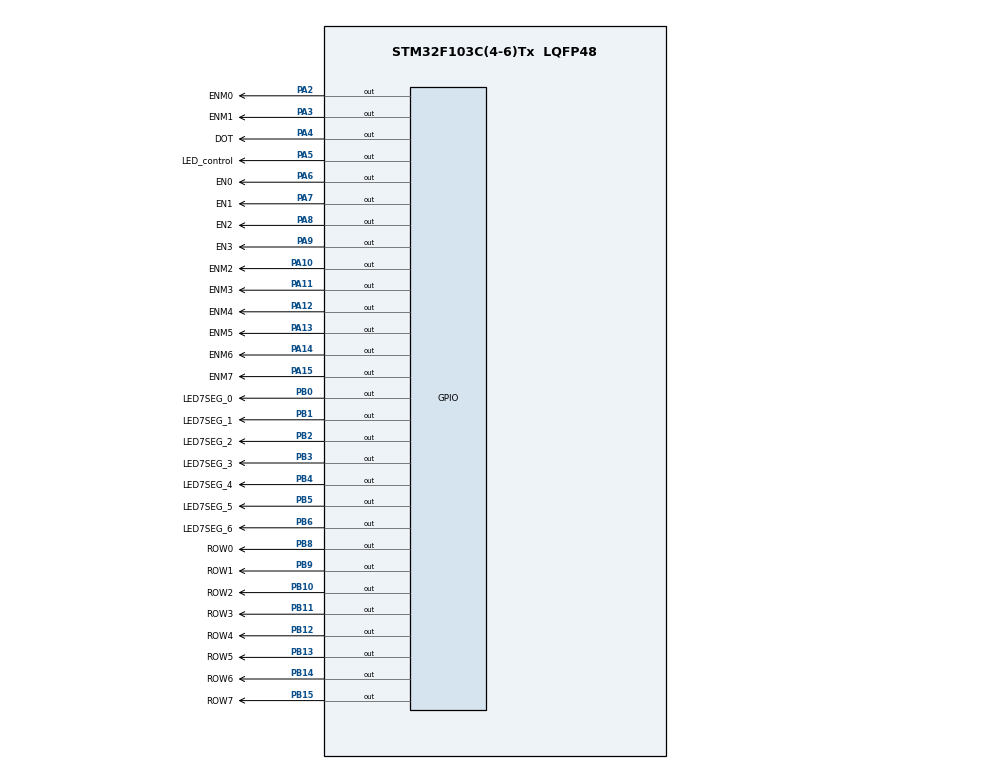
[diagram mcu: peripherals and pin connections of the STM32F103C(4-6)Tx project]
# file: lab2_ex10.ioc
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Mcu.Family=STM32F1
Mcu.Name=STM32F103C(4-6)Tx
Mcu.Package=LQFP48
NVIC.PriorityGroup=NVIC_PRIORITYGROUP_4
NVIC.TIM2_IRQn=true\:0\:0\:false\:false\:true\:true\:true\:true
PA10.GPIO_Label=ENM2
PA10.Signal=GPIO_Output
PA11.GPIO_Label=ENM3
PA11.Signal=GPIO_Output
PA12.GPIO_Label=ENM4
PA12.Signal=GPIO_Output
PA13.GPIO_Label=ENM5
PA13.Signal=GPIO_Output
PA14.GPIO_Label=ENM6
PA14.Signal=GPIO_Output
PA15.GPIO_Label=ENM7
PA15.Signal=GPIO_Output
PA2.GPIO_Label=ENM0
PA2.Signal=GPIO_Output
PA3.GPIO_Label=ENM1
PA3.Signal=GPIO_Output
PA4.GPIO_Label=DOT
PA4.Signal=GPIO_Output
PA5.GPIO_Label=LED_control
PA5.Signal=GPIO_Output
PA6.GPIO_Label=EN0
PA6.Signal=GPIO_Output
PA7.GPIO_Label=EN1
PA7.Signal=GPIO_Output
PA8.GPIO_Label=EN2
PA8.Signal=GPIO_Output
PA9.GPIO_Label=EN3
PA9.Signal=GPIO_Output
PB0.GPIO_Label=LED7SEG_0
PB0.Signal=GPIO_Output
PB1.GPIO_Label=LED7SEG_1
PB1.Signal=GPIO_Output
PB10.GPIO_Label=ROW2
PB10.Signal=GPIO_Output
PB11.GPIO_Label=ROW3
PB11.Signal=GPIO_Output
PB12.GPIO_Label=ROW4
PB12.Signal=GPIO_Output
PB13.GPIO_Label=ROW5
PB13.Signal=GPIO_Output
PB14.GPIO_Label=ROW6
PB14.Signal=GPIO_Output
PB15.GPIO_Label=ROW7
PB15.Signal=GPIO_Output
PB2.GPIO_Label=LED7SEG_2
PB2.Signal=GPIO_Output
PB3.GPIO_Label=LED7SEG_3
PB3.Signal=GPIO_Output
PB4.GPIO_Label=LED7SEG_4
PB4.Signal=GPIO_Output
PB5.GPIO_Label=LED7SEG_5
PB5.Signal=GPIO_Output
PB6.GPIO_Label=LED7SEG_6
PB6.Signal=GPIO_Output
PB8.GPIO_Label=ROW0
PB8.Signal=GPIO_Output
PB9.GPIO_Label=ROW1
PB9.Signal=GPIO_Output
ProjectManager.HeapSize=0x200
ProjectManager.StackSize=0x400
ProjectManager.TargetToolchain=CMake
RCC.APB1Freq_Value=8000000
RCC.APB2Freq_Value=8000000
TIM2.Period=9
TIM2.Prescaler=7999
VP_SYS_VS_ND.Mode=No_Debug
VP_TIM2_VS_ClockSourceINT.Mode=Internal
board=custom

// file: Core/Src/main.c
/* USER CODE BEGIN Header */
/**
  ******************************************************************************
  * @file           : main.c
  * @brief          : Main program body
  ******************************************************************************
  * @attention
  *
  * Copyright (c) 2026 STMicroelectronics.
  * All rights reserved.
  *
  * This software is licensed under terms that can be found in the LICENSE file
  * in the root directory of this software component.
  * If no LICENSE file comes with this software, it is provided AS-IS.
  *
  ******************************************************************************
  */
/* USER CODE END Header */
#include "main.h"

/* USER CODE BEGIN Includes */
#include "control_7_seg.h"
#include "stm32f103x6.h"
#include "stm32f1xx_hal_gpio.h"
/* USER CODE END Includes */

/* USER CODE BEGIN PD */
uint16_t arr_led7seg_pin[7] = {
  LED7SEG_0_Pin,
  LED7SEG_1_Pin,
  LED7SEG_2_Pin,
  LED7SEG_3_Pin,
  LED7SEG_4_Pin,
  LED7SEG_5_Pin,
  LED7SEG_6_Pin
};

uint16_t arr_matrix_led_pin[8] = {
  ROW0_Pin,
  ROW1_Pin,
  ROW2_Pin,
  ROW3_Pin,
  ROW4_Pin,
  ROW5_Pin,
  ROW6_Pin,
  ROW7_Pin
};
/* USER CODE END PD */

TIM_HandleTypeDef htim2;

/* USER CODE BEGIN PV */
int index_led = 0;
int led_buffer [4] = {1 , 9 , 3 , 4};
int hour = 15 , minute = 8 , second = 50;

const int MAX_LED_MATRIX = 8;
int index_led_matrix = 0;
uint8_t charA[8] = {0x00, 0xFC, 0x12, 0x11, 0x11, 0x12, 0xFC, 0x00};
uint8_t matrix_buffer[8] = {0};
uint8_t shift = 0;
/* USER CODE END PV */

void SystemClock_Config(void);
static void MX_GPIO_Init(void);
static void MX_TIM2_Init(void);
/* USER CODE BEGIN PFP */
void updateShiftLeftAnimation();
void update7SEG (int index);
void updateClockBuffer ();
void updateLEDMatrix (int index);
void displayLEDMatrix(uint8_t matrix_buffer,GPIO_TypeDef *Port ,uint16_t arr_matrix_led_pin[8]);
/* USER CODE END PFP */

/* USER CODE BEGIN 0 */
int timer0_counter = 0;
int timer0_flag = 0;
int TIMER_CYCLE = 10;
void setTimer0 ( int duration ) {
  timer0_counter = duration / TIMER_CYCLE ;
  timer0_flag = 0;
}
void timer_run0 () {
  if( timer0_counter > 0) {
    timer0_counter --;
    if( timer0_counter == 0) timer0_flag = 1;
  }
}

int timer1_counter = 0;
int timer1_flag = 0;
void setTimer1 ( int duration ) {
  timer1_counter = duration / TIMER_CYCLE ;
  timer1_flag = 0;
}
void timer_run1 () {
  if( timer1_counter > 0) {
    timer1_counter --;
    if( timer1_counter == 0) timer1_flag = 1;
  }
}

int timer2_counter = 0;
int timer2_flag = 0;
void setTimer2 ( int duration ) {
  timer2_counter = duration / TIMER_CYCLE ;
  timer2_flag = 0;
}
void timer_run2(){
  if(timer2_counter >0){
    timer2_counter--;
    if(timer2_counter == 0) timer2_flag = 1;
  }
}

int timer3_counter = 0;
int timer3_flag = 0;

void timer_run3() {
  if( timer3_counter > 0) {
    timer3_counter --;
    if( timer3_counter == 0) timer3_flag = 1;
  }
}
void setTimer3 ( int duration ) {
  timer3_counter = duration / TIMER_CYCLE ;
  timer3_flag = 0;
}

/* USER CODE END 0 */

int main(void)
{

  /* MCU Configuration--------------------------------------------------------*/

  /* Reset of all peripherals, Initializes the Flash interface and the Systick. */
  HAL_Init();

  /* Configure the system clock */
  SystemClock_Config();

  /* Initialize all configured peripherals */
  MX_GPIO_Init();
  MX_TIM2_Init();
  /* USER CODE BEGIN 2 */
  HAL_TIM_Base_Start_IT(&htim2);
  /* USER CODE END 2 */

  /* Infinite loop */
  /* USER CODE BEGIN WHILE */
  setTimer0 (250) ;
  setTimer1 (1000) ;
  setTimer2 (500) ;
  setTimer3 (10) ;
  while (1)
  {
    /* USER CODE END WHILE */

    /* USER CODE BEGIN 3 */
    if( timer0_flag == 1) {
      update7SEG (index_led) ;
      index_led = (index_led + 1) % 4 ;
      setTimer0 (250) ;

    }
    if( timer3_flag == 1) {
      updateLEDMatrix (index_led_matrix) ;
      index_led_matrix = (index_led_matrix + 1) % MAX_LED_MATRIX ;
      setTimer3 (10) ;
    }
    if( timer1_flag == 1) {
      setTimer1 (1000) ;
      second ++;
    }
    if( timer2_flag == 1) {
      setTimer2 (500) ;
      HAL_GPIO_TogglePin ( LED_control_GPIO_Port, LED_control_Pin );
      HAL_GPIO_TogglePin ( DOT_GPIO_Port, DOT_Pin ) ;
      updateShiftLeftAnimation() ;
    }
    if ( second >= 60) {
      second = 0;
      minute ++;
    }
    if( minute >= 60) {
      minute = 0;
      hour ++;
    }
    if( hour >=24) {
      hour = 0;
    }
    updateClockBuffer () ;
  }
  /* USER CODE END 3 */
}

void SystemClock_Config(void)
{
  RCC_OscInitTypeDef RCC_OscInitStruct = {0};
  RCC_ClkInitTypeDef RCC_ClkInitStruct = {0};

  /** Initializes the RCC Oscillators according to the specified parameters
  * in the RCC_OscInitTypeDef structure.
  */
  RCC_OscInitStruct.OscillatorType = RCC_OSCILLATORTYPE_HSI;
  RCC_OscInitStruct.HSIState = RCC_HSI_ON;
  RCC_OscInitStruct.HSICalibrationValue = RCC_HSICALIBRATION_DEFAULT;
  RCC_OscInitStruct.PLL.PLLState = RCC_PLL_NONE;
  if (HAL_RCC_OscConfig(&RCC_OscInitStruct) != HAL_OK)
  {
    Error_Handler();
  }

  /** Initializes the CPU, AHB and APB buses clocks
  */
  RCC_ClkInitStruct.ClockType = RCC_CLOCKTYPE_HCLK|RCC_CLOCKTYPE_SYSCLK
                              |RCC_CLOCKTYPE_PCLK1|RCC_CLOCKTYPE_PCLK2;
  RCC_ClkInitStruct.SYSCLKSource = RCC_SYSCLKSOURCE_HSI;
  RCC_ClkInitStruct.AHBCLKDivider = RCC_SYSCLK_DIV1;
  RCC_ClkInitStruct.APB1CLKDivider = RCC_HCLK_DIV1;
  RCC_ClkInitStruct.APB2CLKDivider = RCC_HCLK_DIV1;

  if (HAL_RCC_ClockConfig(&RCC_ClkInitStruct, FLASH_LATENCY_0) != HAL_OK)
  {
    Error_Handler();
  }
}

static void MX_TIM2_Init(void)
{

  TIM_ClockConfigTypeDef sClockSourceConfig = {0};
  TIM_MasterConfigTypeDef sMasterConfig = {0};

  htim2.Instance = TIM2;
  htim2.Init.Prescaler = 7999;
  htim2.Init.CounterMode = TIM_COUNTERMODE_UP;
  htim2.Init.Period = 9;
  htim2.Init.ClockDivision = TIM_CLOCKDIVISION_DIV1;
  htim2.Init.AutoReloadPreload = TIM_AUTORELOAD_PRELOAD_DISABLE;
  if (HAL_TIM_Base_Init(&htim2) != HAL_OK)
  {
    Error_Handler();
  }
  sClockSourceConfig.ClockSource = TIM_CLOCKSOURCE_INTERNAL;
  if (HAL_TIM_ConfigClockSource(&htim2, &sClockSourceConfig) != HAL_OK)
  {
    Error_Handler();
  }
  sMasterConfig.MasterOutputTrigger = TIM_TRGO_RESET;
  sMasterConfig.MasterSlaveMode = TIM_MASTERSLAVEMODE_DISABLE;
  if (HAL_TIMEx_MasterConfigSynchronization(&htim2, &sMasterConfig) != HAL_OK)
  {
    Error_Handler();
  }

}

static void MX_GPIO_Init(void)
{
  GPIO_InitTypeDef GPIO_InitStruct = {0};

  /* GPIO Ports Clock Enable */
  __HAL_RCC_GPIOA_CLK_ENABLE();
  __HAL_RCC_GPIOB_CLK_ENABLE();

  /*Configure GPIO pin Output Level */
  HAL_GPIO_WritePin(GPIOA, ENM0_Pin|ENM1_Pin|DOT_Pin|LED_control_Pin
                          |EN0_Pin|EN1_Pin|EN2_Pin|EN3_Pin
                          |ENM2_Pin|ENM3_Pin|ENM4_Pin|ENM5_Pin
                          |ENM6_Pin|ENM7_Pin, GPIO_PIN_RESET);

  /*Configure GPIO pin Output Level */
  HAL_GPIO_WritePin(GPIOB, LED7SEG_0_Pin|LED7SEG_1_Pin|LED7SEG_2_Pin|ROW2_Pin
                          |ROW3_Pin|ROW4_Pin|ROW5_Pin|ROW6_Pin
                          |ROW7_Pin|LED7SEG_3_Pin|LED7SEG_4_Pin|LED7SEG_5_Pin
                          |LED7SEG_6_Pin|ROW0_Pin|ROW1_Pin, GPIO_PIN_RESET);

  /*Configure GPIO pins : ENM0_Pin ENM1_Pin DOT_Pin LED_control_Pin
                           EN0_Pin EN1_Pin EN2_Pin EN3_Pin
                           ENM2_Pin ENM3_Pin ENM4_Pin ENM5_Pin
                           ENM6_Pin ENM7_Pin */
  GPIO_InitStruct.Pin = ENM0_Pin|ENM1_Pin|DOT_Pin|LED_control_Pin
                          |EN0_Pin|EN1_Pin|EN2_Pin|EN3_Pin
                          |ENM2_Pin|ENM3_Pin|ENM4_Pin|ENM5_Pin
                          |ENM6_Pin|ENM7_Pin;
  GPIO_InitStruct.Mode = GPIO_MODE_OUTPUT_PP;
  GPIO_InitStruct.Pull = GPIO_NOPULL;
  GPIO_InitStruct.Speed = GPIO_SPEED_FREQ_LOW;
  HAL_GPIO_Init(GPIOA, &GPIO_InitStruct);

  /*Configure GPIO pins : LED7SEG_0_Pin LED7SEG_1_Pin LED7SEG_2_Pin ROW2_Pin
                           ROW3_Pin ROW4_Pin ROW5_Pin ROW6_Pin
                           ROW7_Pin LED7SEG_3_Pin LED7SEG_4_Pin LED7SEG_5_Pin
                           LED7SEG_6_Pin ROW0_Pin ROW1_Pin */
  GPIO_InitStruct.Pin = LED7SEG_0_Pin|LED7SEG_1_Pin|LED7SEG_2_Pin|ROW2_Pin
                          |ROW3_Pin|ROW4_Pin|ROW5_Pin|ROW6_Pin
                          |ROW7_Pin|LED7SEG_3_Pin|LED7SEG_4_Pin|LED7SEG_5_Pin
                          |LED7SEG_6_Pin|ROW0_Pin|ROW1_Pin;
  GPIO_InitStruct.Mode = GPIO_MODE_OUTPUT_PP;
  GPIO_InitStruct.Pull = GPIO_NOPULL;
  GPIO_InitStruct.Speed = GPIO_SPEED_FREQ_LOW;
  HAL_GPIO_Init(GPIOB, &GPIO_InitStruct);

}

/* USER CODE BEGIN 4 */
void updateShiftLeftAnimation() {

  for (int i = 0; i < 8; i++) {
    matrix_buffer[i] = charA[(shift + i)%8];
  }

  shift = (shift + 1) % 8;
}
void displayLEDMatrix(uint8_t matrix_buffer,GPIO_TypeDef *Port ,uint16_t arr_matrix_led_pin[8]){
  for(int i = 0; i < 8; i++){
    GPIO_PinState state = !((matrix_buffer >> i) & 0x01);
    HAL_GPIO_WritePin(Port, arr_matrix_led_pin[i], state);
  }
}

void updateLEDMatrix(int index){
  switch (index) {
    case 0:
      HAL_GPIO_WritePin(GPIOA, ENM0_Pin, GPIO_PIN_RESET);
      HAL_GPIO_WritePin(GPIOA, ENM1_Pin, GPIO_PIN_SET);
      HAL_GPIO_WritePin(GPIOA, ENM2_Pin, GPIO_PIN_SET);
      HAL_GPIO_WritePin(GPIOA, ENM3_Pin, GPIO_PIN_SET);
      HAL_GPIO_WritePin(GPIOA, ENM4_Pin, GPIO_PIN_SET);
      HAL_GPIO_WritePin(GPIOA, ENM5_Pin, GPIO_PIN_SET);
      HAL_GPIO_WritePin(GPIOA, ENM6_Pin, GPIO_PIN_SET);
      HAL_GPIO_WritePin(GPIOA, ENM7_Pin, GPIO_PIN_SET);
      displayLEDMatrix(matrix_buffer[0],GPIOB ,arr_matrix_led_pin);
      break;
    case 1:
      HAL_GPIO_WritePin(GPIOA, ENM0_Pin, GPIO_PIN_SET);
      HAL_GPIO_WritePin(GPIOA, ENM1_Pin, GPIO_PIN_RESET);
      HAL_GPIO_WritePin(GPIOA, ENM2_Pin, GPIO_PIN_SET);
      HAL_GPIO_WritePin(GPIOA, ENM3_Pin, GPIO_PIN_SET);
      HAL_GPIO_WritePin(GPIOA, ENM4_Pin, GPIO_PIN_SET);
      HAL_GPIO_WritePin(GPIOA, ENM5_Pin, GPIO_PIN_SET);
      HAL_GPIO_WritePin(GPIOA, ENM6_Pin, GPIO_PIN_SET);
      HAL_GPIO_WritePin(GPIOA, ENM7_Pin, GPIO_PIN_SET);
      displayLEDMatrix(matrix_buffer[1],GPIOB ,arr_matrix_led_pin);
      break;
    case 2:
      HAL_GPIO_WritePin(GPIOA, ENM0_Pin, GPIO_PIN_SET);
      HAL_GPIO_WritePin(GPIOA, ENM1_Pin, GPIO_PIN_SET);
      HAL_GPIO_WritePin(GPIOA, ENM2_Pin, GPIO_PIN_RESET);
      HAL_GPIO_WritePin(GPIOA, ENM3_Pin, GPIO_PIN_SET);
      HAL_GPIO_WritePin(GPIOA, ENM4_Pin, GPIO_PIN_SET);
      HAL_GPIO_WritePin(GPIOA, ENM5_Pin, GPIO_PIN_SET);
      HAL_GPIO_WritePin(GPIOA, ENM6_Pin, GPIO_PIN_SET);
      HAL_GPIO_WritePin(GPIOA, ENM7_Pin, GPIO_PIN_SET);
      displayLEDMatrix(matrix_buffer[2],GPIOB ,arr_matrix_led_pin);
      break;
    case 3:
      HAL_GPIO_WritePin(GPIOA, ENM0_Pin, GPIO_PIN_SET);
      HAL_GPIO_WritePin(GPIOA, ENM1_Pin, GPIO_PIN_SET);
      HAL_GPIO_WritePin(GPIOA, ENM2_Pin, GPIO_PIN_SET);
      HAL_GPIO_WritePin(GPIOA, ENM3_Pin, GPIO_PIN_RESET);
      HAL_GPIO_WritePin(GPIOA, ENM4_Pin, GPIO_PIN_SET);
      HAL_GPIO_WritePin(GPIOA, ENM5_Pin, GPIO_PIN_SET);
      HAL_GPIO_WritePin(GPIOA, ENM6_Pin, GPIO_PIN_SET);
      HAL_GPIO_WritePin(GPIOA, ENM7_Pin, GPIO_PIN_SET);
      displayLEDMatrix(matrix_buffer[3],GPIOB ,arr_matrix_led_pin);
      break;
    case 4:
      HAL_GPIO_WritePin(GPIOA, ENM0_Pin, GPIO_PIN_SET);
      HAL_GPIO_WritePin(GPIOA, ENM1_Pin, GPIO_PIN_SET);
      HAL_GPIO_WritePin(GPIOA, ENM2_Pin, GPIO_PIN_SET);
      HAL_GPIO_WritePin(GPIOA, ENM3_Pin, GPIO_PIN_SET);
      HAL_GPIO_WritePin(GPIOA, ENM4_Pin, GPIO_PIN_RESET);
      HAL_GPIO_WritePin(GPIOA, ENM5_Pin, GPIO_PIN_SET);
      HAL_GPIO_WritePin(GPIOA, ENM6_Pin, GPIO_PIN_SET);
      HAL_GPIO_WritePin(GPIOA, ENM7_Pin, GPIO_PIN_SET);
      displayLEDMatrix(matrix_buffer[4],GPIOB ,arr_matrix_led_pin);
      break;
    case 5:
      HAL_GPIO_WritePin(GPIOA, ENM0_Pin, GPIO_PIN_SET);
      HAL_GPIO_WritePin(GPIOA, ENM1_Pin, GPIO_PIN_SET);
      HAL_GPIO_WritePin(GPIOA, ENM2_Pin, GPIO_PIN_SET);
      HAL_GPIO_WritePin(GPIOA, ENM3_Pin, GPIO_PIN_SET);
      HAL_GPIO_WritePin(GPIOA, ENM4_Pin, GPIO_PIN_SET);
      HAL_GPIO_WritePin(GPIOA, ENM5_Pin, GPIO_PIN_RESET);
      HAL_GPIO_WritePin(GPIOA, ENM6_Pin, GPIO_PIN_SET);
      HAL_GPIO_WritePin(GPIOA, ENM7_Pin, GPIO_PIN_SET);
      displayLEDMatrix(matrix_buffer[5],GPIOB ,arr_matrix_led_pin);
      break;
    case 6:
      HAL_GPIO_WritePin(GPIOA, ENM0_Pin, GPIO_PIN_SET);
      HAL_GPIO_WritePin(GPIOA, ENM1_Pin, GPIO_PIN_SET);
      HAL_GPIO_WritePin(GPIOA, ENM2_Pin, GPIO_PIN_SET);
      HAL_GPIO_WritePin(GPIOA, ENM3_Pin, GPIO_PIN_SET);
      HAL_GPIO_WritePin(GPIOA, ENM4_Pin, GPIO_PIN_SET);
      HAL_GPIO_WritePin(GPIOA, ENM5_Pin, GPIO_PIN_SET);
      HAL_GPIO_WritePin(GPIOA, ENM6_Pin, GPIO_PIN_RESET);
      HAL_GPIO_WritePin(GPIOA, ENM7_Pin, GPIO_PIN_SET);
      displayLEDMatrix(matrix_buffer[6],GPIOB ,arr_matrix_led_pin);
      break;
    case 7:
      HAL_GPIO_WritePin(GPIOA, ENM0_Pin, GPIO_PIN_SET);
      HAL_GPIO_WritePin(GPIOA, ENM1_Pin, GPIO_PIN_SET);
      HAL_GPIO_WritePin(GPIOA, ENM2_Pin, GPIO_PIN_SET);
      HAL_GPIO_WritePin(GPIOA, ENM3_Pin, GPIO_PIN_SET);
      HAL_GPIO_WritePin(GPIOA, ENM4_Pin, GPIO_PIN_SET);
      HAL_GPIO_WritePin(GPIOA, ENM5_Pin, GPIO_PIN_SET);
      HAL_GPIO_WritePin(GPIOA, ENM6_Pin, GPIO_PIN_SET);
      HAL_GPIO_WritePin(GPIOA, ENM7_Pin, GPIO_PIN_RESET);
      displayLEDMatrix(matrix_buffer[7],GPIOB ,arr_matrix_led_pin);
      break;
    default:
      break;
  }
}

void updateClockBuffer () {
  led_buffer[0] = hour / 10;
  led_buffer[1] = hour % 10;
  led_buffer[2] = minute / 10;
  led_buffer[3] = minute % 10;
}

void update7SEG (int index){
  switch(index){
    case 0:
      HAL_GPIO_WritePin(GPIOA, EN0_Pin, GPIO_PIN_RESET);
      HAL_GPIO_WritePin(GPIOA, EN1_Pin, GPIO_PIN_SET);
      HAL_GPIO_WritePin(GPIOA, EN2_Pin, GPIO_PIN_SET);
      HAL_GPIO_WritePin(GPIOA, EN3_Pin, GPIO_PIN_SET);
      display7SEG(led_buffer[0],GPIOB ,arr_led7seg_pin);
      break;
    case 1:
      HAL_GPIO_WritePin(GPIOA, EN0_Pin, GPIO_PIN_SET);
      HAL_GPIO_WritePin(GPIOA, EN1_Pin, GPIO_PIN_RESET);
      HAL_GPIO_WritePin(GPIOA, EN2_Pin, GPIO_PIN_SET);
      HAL_GPIO_WritePin(GPIOA, EN3_Pin, GPIO_PIN_SET);
      display7SEG(led_buffer[1],GPIOB ,arr_led7seg_pin);
      break;
    case 2:
      HAL_GPIO_WritePin(GPIOA, EN0_Pin, GPIO_PIN_SET);
      HAL_GPIO_WritePin(GPIOA, EN1_Pin, GPIO_PIN_SET);
      HAL_GPIO_WritePin(GPIOA, EN2_Pin, GPIO_PIN_RESET);
      HAL_GPIO_WritePin(GPIOA, EN3_Pin, GPIO_PIN_SET);
      display7SEG(led_buffer[2],GPIOB ,arr_led7seg_pin);
      break;
    case 3:
      HAL_GPIO_WritePin(GPIOA, EN0_Pin, GPIO_PIN_SET);
      HAL_GPIO_WritePin(GPIOA, EN1_Pin, GPIO_PIN_SET);
      HAL_GPIO_WritePin(GPIOA, EN2_Pin, GPIO_PIN_SET);
      HAL_GPIO_WritePin(GPIOA, EN3_Pin, GPIO_PIN_RESET);
      display7SEG(led_buffer[3],GPIOB ,arr_led7seg_pin);
      break;
    default:
      break;
  }
}

void HAL_TIM_PeriodElapsedCallback(TIM_HandleTypeDef *htim){
  timer_run0();
  timer_run1();
  timer_run2();
  timer_run3();
}
/* USER CODE END 4 */

void Error_Handler(void)
{
  __disable_irq();
  while (1)
  {
  }
}
